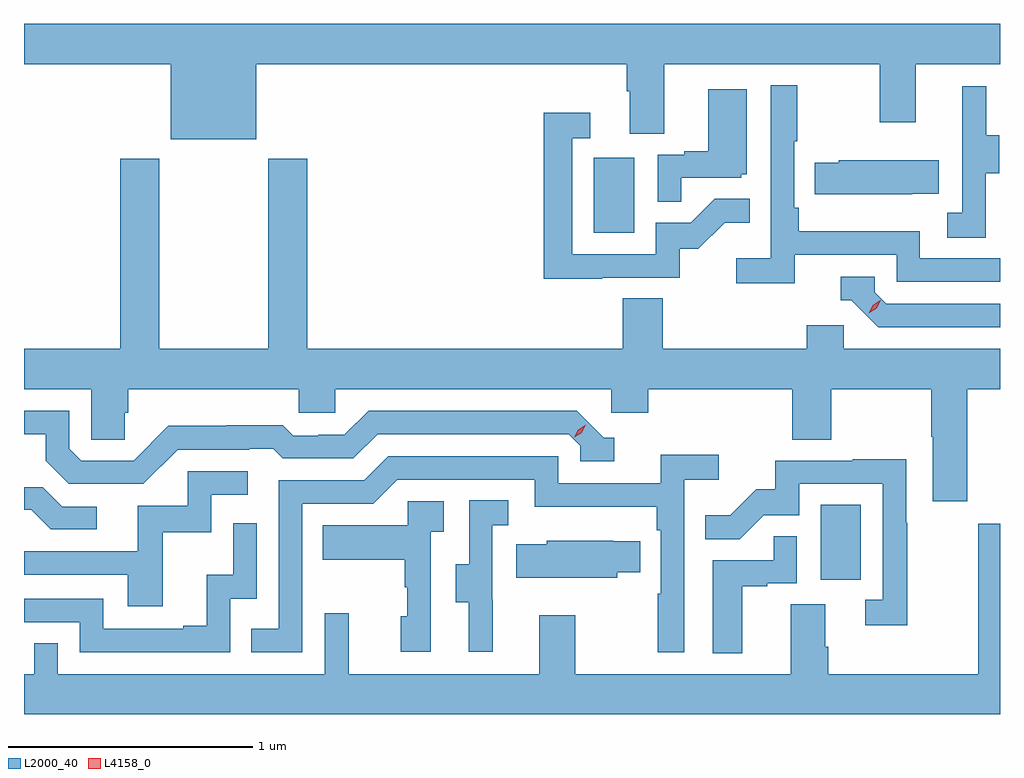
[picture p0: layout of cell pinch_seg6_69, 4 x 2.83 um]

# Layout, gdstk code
import gdstk
lib = gdstk.Library(unit=1e-6, precision=1e-09)
def R(c, l, rs):  # rectangles x0, y0, x1, y1
    for r in rs: c.add(gdstk.rectangle(r[:2], r[2:], *l))
def P(c, l, *ps):  # polygons
    for p in ps: c.add(gdstk.Polygon(p, *l))
L2000_40 = (2000, 40)
L4158_0 = (4158, 0)

pinch_seg6_69 = lib.new_cell('pinch_seg6_69')
R(pinch_seg6_69, L2000_40, [(895.076,926.574,895.24,926.881), (894.146,927.996,894.31,928.303)])
P(pinch_seg6_69, L2000_40, [(892.762,928.688),(894.281,928.688),(894.281,928.576),(894.293,928.576),(894.293,928.402),(894.433,928.402),(894.433,928.688),(895.318,928.688),(895.318,928.449),(895.465,928.449),(895.465,928.688),(895.81,928.688),(895.81,928.852),(891.81,928.852),(891.81,928.688),(892.412,928.688),(892.412,928.379),(892.762,928.379)],
  [(894.968,927.906),(895.386,927.906),(895.386,927.795),(895.81,927.795),(895.81,927.891),(895.482,927.891),(895.482,928.003),(894.986,928.003),(894.986,928.099),(894.966,928.099),(894.966,928.372),(894.979,928.372),(894.979,928.6),(894.87,928.6),(894.87,927.892),(894.729,927.892),(894.729,927.79),(894.968,927.79)],
  [(895.752,928.24),(895.807,928.24),(895.807,928.395),(895.753,928.395),(895.753,928.597),(895.655,928.597),(895.655,928.383),(895.656,928.383),(895.656,928.079),(895.593,928.079),(895.593,927.976),(895.752,927.976)],
  [(894.503,928.221),(894.75,928.221),(894.75,928.236),(894.772,928.236),(894.772,928.585),(894.614,928.585),(894.614,928.33),(894.515,928.33),(894.515,928.317),(894.408,928.317),(894.408,928.123),(894.503,928.123)],
  [(894.179,927.813),(894.498,927.813),(894.498,927.93),(894.574,927.93),(894.681,928.037),(894.785,928.037),(894.785,928.136),(894.641,928.136),(894.543,928.038),(894.399,928.038),(894.399,927.909),(894.057,927.909),(894.057,928.383),(894.13,928.383),(894.13,928.489),(893.941,928.489),(893.941,927.808),(894.179,927.808)],
  [(892.81,927.52),(892.365,927.52),(892.365,928.3),(892.205,928.3),(892.205,927.52),(891.81,927.52),(891.81,927.356),(892.086,927.356),(892.086,927.148),(892.223,927.148),(892.223,927.258),(892.238,927.258),(892.238,927.356),(892.935,927.356),(892.935,927.258),(893.085,927.258),(893.085,927.356),(894.216,927.356),(894.216,927.258),(894.368,927.258),(894.368,927.356),(894.959,927.356),(894.959,927.148),(895.119,927.148),(895.119,927.356),(895.528,927.356),(895.528,927.16),(895.535,927.16),(895.535,926.895),(895.675,926.895),(895.675,927.356),(895.81,927.356),(895.81,927.52),(895.17,927.52),(895.17,927.618),(895.019,927.618),(895.019,927.52),(894.428,927.52),(894.428,927.728),(894.263,927.728),(894.263,927.52),(892.97,927.52),(892.97,928.3),(892.81,928.3)],
  [(895.451,928.157),(895.559,928.157),(895.559,928.294),(895.149,928.294),(895.149,928.284),(895.051,928.284),(895.051,928.154),(895.451,928.154)],
  [(895.81,927.705),(895.344,927.705),(895.296,927.753),(895.296,927.816),(895.157,927.816),(895.157,927.72),(895.2,927.72),(895.311,927.609),(895.81,927.609)],
  [(892.44,927.108),(892.733,927.108),(892.733,927.111),(892.832,927.111),(892.871,927.072),(893.16,927.072),(893.259,927.171),(894.042,927.171),(894.09,927.123),(894.09,927.06),(894.229,927.06),(894.229,927.156),(894.186,927.156),(894.075,927.267),(893.222,927.267),(893.123,927.168),(893.016,927.168),(893.016,927.165),(892.913,927.165),(892.871,927.208),(892.638,927.208),(892.638,927.205),(892.402,927.205),(892.26,927.063),(892.044,927.063),(891.996,927.111),(891.996,927.267),(891.81,927.267),(891.81,927.171),(891.899,927.171),(891.899,927.061),(891.993,926.967),(892.299,926.967)],
  [(892.95,926.886),(893.241,926.886),(893.34,926.985),(893.904,926.985),(893.904,926.873),(894.403,926.873),(894.403,926.777),(894.42,926.777),(894.42,926.516),(894.408,926.516),(894.408,926.277),(894.516,926.277),(894.516,926.984),(894.658,926.984),(894.658,927.086),(894.419,927.086),(894.419,926.97),(894,926.97),(894,927.081),(893.303,927.081),(893.204,926.982),(892.854,926.982),(892.854,926.373),(892.741,926.373),(892.741,926.277),(892.95,926.277)],
  [(895.43,926.807),(895.425,926.807),(895.425,927.068),(895.207,927.068),(895.207,927.063),(894.889,927.063),(894.889,926.946),(894.812,926.946),(894.705,926.839),(894.601,926.839),(894.601,926.74),(894.744,926.74),(894.842,926.838),(894.987,926.838),(894.987,926.967),(895.329,926.967),(895.329,926.493),(895.257,926.493),(895.257,926.388),(895.43,926.388)],
  [(892.379,926.769),(892.578,926.769),(892.578,926.922),(892.726,926.922),(892.726,927.018),(892.482,927.018),(892.482,926.877),(892.277,926.877),(892.277,926.691),(891.81,926.691),(891.81,926.595),(892.235,926.595),(892.235,926.466),(892.379,926.466)],
  [(892.108,926.874),(891.966,926.874),(891.886,926.954),(891.81,926.954),(891.81,926.862),(891.839,926.862),(891.92,926.781),(892.108,926.781)],
  [(893.732,926.493),(893.73,926.493),(893.73,926.797),(893.794,926.797),(893.794,926.9),(893.634,926.9),(893.634,926.637),(893.579,926.637),(893.579,926.482),(893.633,926.482),(893.633,926.28),(893.732,926.28)],
  [(893.478,926.771),(893.53,926.771),(893.53,926.895),(893.382,926.895),(893.382,926.797),(893.035,926.797),(893.035,926.657),(893.37,926.657),(893.37,926.543),(893.38,926.543),(893.38,926.424),(893.354,926.424),(893.354,926.28),(893.478,926.28)],
  [(892.656,926.496),(892.764,926.496),(892.764,926.806),(892.668,926.806),(892.668,926.594),(892.559,926.594),(892.559,926.386),(892.463,926.386),(892.463,926.373),(892.134,926.373),(892.134,926.496),(891.81,926.496),(891.81,926.4),(892.038,926.4),(892.038,926.277),(892.656,926.277)],
  [(895.81,926.803),(895.721,926.803),(895.721,926.188),(895.106,926.188),(895.106,926.3),(895.093,926.3),(895.093,926.474),(894.953,926.474),(894.953,926.188),(894.069,926.188),(894.069,926.428),(893.921,926.428),(893.921,926.188),(893.141,926.188),(893.141,926.437),(893.043,926.437),(893.043,926.188),(891.948,926.188),(891.948,926.315),(891.852,926.315),(891.852,926.188),(891.81,926.188),(891.81,926.024),(895.81,926.024)],
  [(894.754,926.547),(894.857,926.547),(894.857,926.559),(894.978,926.559),(894.978,926.753),(894.883,926.753),(894.883,926.655),(894.632,926.655),(894.632,926.273),(894.754,926.273)],
  [(894.241,926.605),(894.335,926.605),(894.335,926.733),(894.224,926.733),(894.224,926.734),(893.952,926.734),(893.952,926.719),(893.827,926.719),(893.827,926.582),(894.241,926.582)])
P(pinch_seg6_69, L4158_0, [(895.273,927.667),(895.273,927.667),(895.289,927.7),(895.32,927.719),(895.321,927.719),(895.321,927.719),(895.304,927.686),(895.273,927.667)],
  [(894.065,927.158),(894.065,927.158),(894.081,927.19),(894.112,927.209),(894.113,927.209),(894.113,927.209),(894.096,927.177),(894.065,927.158)])

lib.write_gds('pinch_seg6_69.gds')
